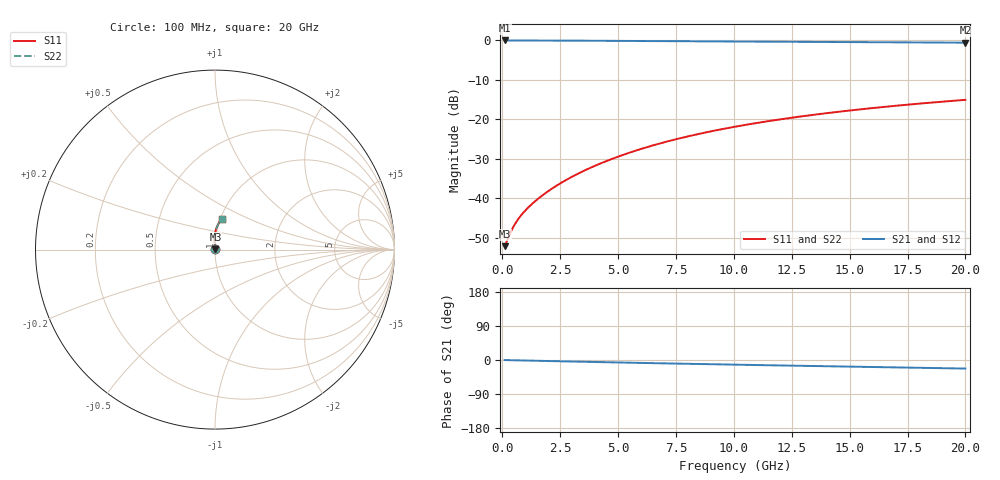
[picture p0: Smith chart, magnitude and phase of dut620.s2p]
! Touchstone file exported from HFSS 2024.1.0
!  File:  C:/UserFiles/LocalFiles/RDL_TSV_Batchsim/temp_RDL_top_620_1779780173.aedt
!  Generated:  03:24:53 PM May 26, 2026
!  Design:  RDL_top
!  Project:  temp_RDL_top_620_1779780173
!  Setup:  Setup1
!  Solution:  Sweep
! Variables:
!  dtsv = 10.80580581um
!  hbump = 3um
!  htsv = 58.79um
!  ldown = 100um
!  lrdl = 343.46um
!  p = 40
!  p1 = 42.47um
!  rhole = 1um
!  t = 450um
!  tdown = 3.915915916um
!  trdl = 2.23um
!  wdown = 15.38538539um
!  wrdl = 28.02um
# GHz S MA R 50.000000
! Terminal data exported
! Port[1] = Box2_T1
! Port[2] = Box2_T2
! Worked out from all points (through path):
!   200 points, 100 MHz to 20 GHz, reference 50 ohm
!   highest |S21| = -0.02 dB at 100 MHz (marker M1); lowest = -0.6 dB at 20 GHz (marker M2)
!   group delay of S21, straight-line fit = 3.09 ps
!   lowest |S11| = -52.1 dB at 100 MHz (marker M3), VSWR 1.00, Z = 50.2 + j0.0785 ohm
!   |S11| at or under -10 dB: start of sweep to end of sweep
!   |S22| runs from -52.1 to -15.1 dB; largest |S21 - S12| = 2.1e-15
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0.1  0.002483 18.3  0.9976 -0.1  0.9976 -0.1  0.002483 18.3
! Gamma 0 0 0 0
! Port Impedance 50 0 50 0
0.4  0.003936 47.8  0.9972 -0.6  0.9972 -0.6  0.003936 47.7
0.5  0.004481 52.2  0.997 -0.7  0.997 -0.7  0.004481 52.2
0.6  0.005013 55.7  0.9968 -0.9  0.9968 -0.9  0.005012 55.6
0.7  0.005531 58.6  0.9967 -1.0  0.9967 -1.0  0.00553 58.5
0.9  0.006546 63.3  0.9964 -1.3  0.9964 -1.3  0.006545 63.3
1.2  0.008069 69.0  0.9959 -1.7  0.9959 -1.7  0.008068 69.0
1.7  0.01074 76.1  0.9951 -2.3  0.9951 -2.3  0.01073 76.1
2.2  0.01362 81.3  0.9941 -3.0  0.9941 -3.0  0.01362 81.2
2.8  0.01738 85.6  0.9926 -3.8  0.9926 -3.8  0.01738 85.6
3.5  0.02216 89.1  0.9907 -4.7  0.9907 -4.7  0.02216 89.1
4.2  0.02735 91.4  0.9885 -5.6  0.9885 -5.6  0.02735 91.4
5  0.03374 93.0  0.9857 -6.5  0.9857 -6.5  0.03374 93.0
5.9  0.04141 93.8  0.9825 -7.6  0.9825 -7.6  0.04141 93.8
6.8  0.0495 93.9  0.9791 -8.7  0.9791 -8.7  0.0495 93.9
8.4  0.06461 93.1  0.9731 -10.5  0.9731 -10.5  0.06461 93.1
10.1  0.08123 91.3  0.967 -12.4  0.967 -12.4  0.08122 91.3
11.7  0.09706 89.3  0.9615 -14.1  0.9615 -14.1  0.09706 89.3
13.4  0.1139 86.9  0.9558 -15.9  0.9558 -15.9  0.1138 86.9
15  0.1295 84.7  0.9507 -17.5  0.9507 -17.5  0.1295 84.7
16.7  0.1459 82.4  0.9455 -19.3  0.9455 -19.3  0.1458 82.3
20  0.1766 77.9  0.9357 -22.6  0.9357 -22.6  0.1766 77.9
